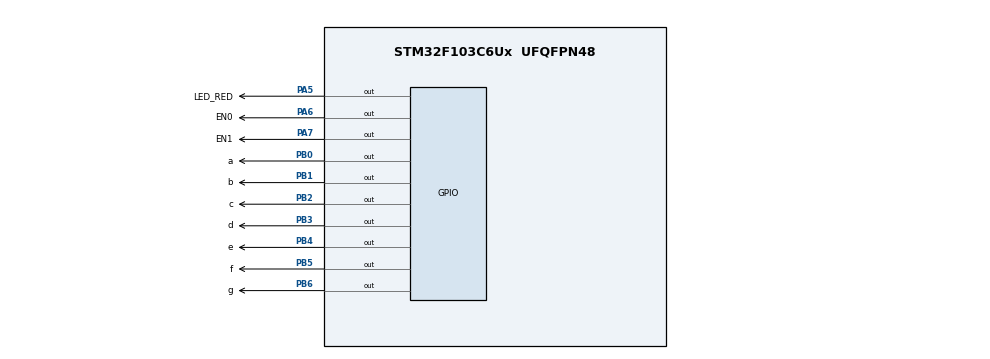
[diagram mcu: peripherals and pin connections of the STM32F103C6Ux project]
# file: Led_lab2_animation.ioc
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Mcu.Family=STM32F1
Mcu.Name=STM32F103C6Ux
Mcu.Package=UFQFPN48
NVIC.PriorityGroup=NVIC_PRIORITYGROUP_4
NVIC.TIM2_IRQn=true\:0\:0\:false\:false\:true\:true\:true
PA5.GPIO_Label=LED_RED
PA5.Signal=GPIO_Output
PA6.GPIO_Label=EN0
PA6.Signal=GPIO_Output
PA7.GPIO_Label=EN1
PA7.Signal=GPIO_Output
PB0.GPIO_Label=a
PB0.Signal=GPIO_Output
PB1.GPIO_Label=b
PB1.Signal=GPIO_Output
PB2.GPIO_Label=c
PB2.Signal=GPIO_Output
PB3.GPIO_Label=d
PB3.Signal=GPIO_Output
PB4.GPIO_Label=e
PB4.Signal=GPIO_Output
PB5.GPIO_Label=f
PB5.Signal=GPIO_Output
PB6.GPIO_Label=g
PB6.Signal=GPIO_Output
ProjectManager.HeapSize=0x200
ProjectManager.StackSize=0x400
ProjectManager.TargetToolchain=STM32CubeIDE
RCC.APB1Freq_Value=8000000
RCC.APB2Freq_Value=8000000
TIM2.Period=9
TIM2.Prescaler=7999
VP_SYS_VS_ND.Mode=No_Debug
VP_TIM2_VS_ClockSourceINT.Mode=Internal
board=custom

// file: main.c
/* USER CODE BEGIN Header */
/**
  ******************************************************************************
  * @file           : main.c
  * @brief          : Main program body
  ******************************************************************************
  * @attention
  *
  * <h2><center>&copy; Copyright (c) 2024 STMicroelectronics.
  * All rights reserved.</center></h2>
  *
  * This software component is licensed by ST under BSD 3-Clause license,
  * the "License"; You may not use this file except in compliance with the
  * License. You may obtain a copy of the License at:
  *                        opensource.org/licenses/BSD-3-Clause
  *
  ******************************************************************************
  */
/* USER CODE END Header */
#include "main.h"

/* USER CODE BEGIN Includes */
#include "software_timer.h"
/* USER CODE END Includes */

TIM_HandleTypeDef htim2;

/* USER CODE BEGIN PV */
int status = 0;
/* USER CODE END PV */

void SystemClock_Config(void);
static void MX_GPIO_Init(void);
static void MX_TIM2_Init(void);
/* USER CODE BEGIN PFP */
void clear7SEG()
{
	HAL_GPIO_WritePin(GPIOB, a_Pin | b_Pin | c_Pin | d_Pin | e_Pin | f_Pin | g_Pin, GPIO_PIN_SET);
}
void display7SEG(int num)
{
	clear7SEG();

	switch (num)
	{
		case 0:
			HAL_GPIO_WritePin(GPIOB, a_Pin | b_Pin | c_Pin | d_Pin | e_Pin | f_Pin, GPIO_PIN_RESET);
			break;
		case 1:
			HAL_GPIO_WritePin(GPIOB, b_Pin | c_Pin , GPIO_PIN_RESET);
			break;
		case 2:
			HAL_GPIO_WritePin(GPIOB, a_Pin | b_Pin | d_Pin | e_Pin | g_Pin, GPIO_PIN_RESET);
			break;
		case 3:
			HAL_GPIO_WritePin(GPIOB, a_Pin | b_Pin | c_Pin | d_Pin | g_Pin, GPIO_PIN_RESET);
			break;
		case 4:
			HAL_GPIO_WritePin(GPIOB, b_Pin | c_Pin | f_Pin | g_Pin, GPIO_PIN_RESET);
			break;
		case 5:
			HAL_GPIO_WritePin(GPIOB, a_Pin | c_Pin | d_Pin | f_Pin | g_Pin, GPIO_PIN_RESET);
			break;
		case 6:
			HAL_GPIO_WritePin(GPIOB, a_Pin | c_Pin | d_Pin | e_Pin | f_Pin | g_Pin, GPIO_PIN_RESET);
			break;
		case 7:
			HAL_GPIO_WritePin(GPIOB, a_Pin | b_Pin | c_Pin , GPIO_PIN_RESET);
			break;
		case 8:
			HAL_GPIO_WritePin(GPIOB, a_Pin | b_Pin | c_Pin | d_Pin | e_Pin | f_Pin | g_Pin, GPIO_PIN_RESET);
			break;
		case 9:
			HAL_GPIO_WritePin(GPIOB, a_Pin | b_Pin | c_Pin | d_Pin | f_Pin | g_Pin, GPIO_PIN_RESET);
			break;
	}
}
/* USER CODE END PFP */

int main(void)
{

  /* MCU Configuration--------------------------------------------------------*/

  /* Reset of all peripherals, Initializes the Flash interface and the Systick. */
  HAL_Init();

  /* Configure the system clock */
  SystemClock_Config();

  /* Initialize all configured peripherals */
  MX_GPIO_Init();
  MX_TIM2_Init();
  /* USER CODE BEGIN 2 */
  HAL_TIM_Base_Start_IT (& htim2 ) ;
  setTimer(0, 500);
  /* USER CODE END 2 */

  /* Infinite loop */
  while (1)
  {
	  if(isTimerExpired(0)){
		  switch(status){
		  	  case 0:
		  		  HAL_GPIO_WritePin(GPIOA, EN1_Pin, GPIO_PIN_SET);
		  		  HAL_GPIO_WritePin(GPIOA, EN0_Pin, GPIO_PIN_RESET);
		  		  display7SEG(1);
		  		  status = 1;
		  		  break;
		  	  case 1:
		  		  HAL_GPIO_WritePin(GPIOA, EN0_Pin, GPIO_PIN_SET);
		  		  HAL_GPIO_WritePin(GPIOA, EN1_Pin, GPIO_PIN_RESET);
		  		  display7SEG(2);
		  		  status = 0;
		  		  break;
		  }
		  setTimer(0, 500);
	  }

  }
}

void SystemClock_Config(void)
{
  RCC_OscInitTypeDef RCC_OscInitStruct = {0};
  RCC_ClkInitTypeDef RCC_ClkInitStruct = {0};

  /** Initializes the RCC Oscillators according to the specified parameters
  * in the RCC_OscInitTypeDef structure.
  */
  RCC_OscInitStruct.OscillatorType = RCC_OSCILLATORTYPE_HSI;
  RCC_OscInitStruct.HSIState = RCC_HSI_ON;
  RCC_OscInitStruct.HSICalibrationValue = RCC_HSICALIBRATION_DEFAULT;
  RCC_OscInitStruct.PLL.PLLState = RCC_PLL_NONE;
  if (HAL_RCC_OscConfig(&RCC_OscInitStruct) != HAL_OK)
  {
    Error_Handler();
  }
  /** Initializes the CPU, AHB and APB buses clocks
  */
  RCC_ClkInitStruct.ClockType = RCC_CLOCKTYPE_HCLK|RCC_CLOCKTYPE_SYSCLK
                              |RCC_CLOCKTYPE_PCLK1|RCC_CLOCKTYPE_PCLK2;
  RCC_ClkInitStruct.SYSCLKSource = RCC_SYSCLKSOURCE_HSI;
  RCC_ClkInitStruct.AHBCLKDivider = RCC_SYSCLK_DIV1;
  RCC_ClkInitStruct.APB1CLKDivider = RCC_HCLK_DIV1;
  RCC_ClkInitStruct.APB2CLKDivider = RCC_HCLK_DIV1;

  if (HAL_RCC_ClockConfig(&RCC_ClkInitStruct, FLASH_LATENCY_0) != HAL_OK)
  {
    Error_Handler();
  }
}

static void MX_TIM2_Init(void)
{

  TIM_ClockConfigTypeDef sClockSourceConfig = {0};
  TIM_MasterConfigTypeDef sMasterConfig = {0};

  htim2.Instance = TIM2;
  htim2.Init.Prescaler = 7999;
  htim2.Init.CounterMode = TIM_COUNTERMODE_UP;
  htim2.Init.Period = 9;
  htim2.Init.ClockDivision = TIM_CLOCKDIVISION_DIV1;
  htim2.Init.AutoReloadPreload = TIM_AUTORELOAD_PRELOAD_DISABLE;
  if (HAL_TIM_Base_Init(&htim2) != HAL_OK)
  {
    Error_Handler();
  }
  sClockSourceConfig.ClockSource = TIM_CLOCKSOURCE_INTERNAL;
  if (HAL_TIM_ConfigClockSource(&htim2, &sClockSourceConfig) != HAL_OK)
  {
    Error_Handler();
  }
  sMasterConfig.MasterOutputTrigger = TIM_TRGO_RESET;
  sMasterConfig.MasterSlaveMode = TIM_MASTERSLAVEMODE_DISABLE;
  if (HAL_TIMEx_MasterConfigSynchronization(&htim2, &sMasterConfig) != HAL_OK)
  {
    Error_Handler();
  }

}

static void MX_GPIO_Init(void)
{
  GPIO_InitTypeDef GPIO_InitStruct = {0};

  /* GPIO Ports Clock Enable */
  __HAL_RCC_GPIOA_CLK_ENABLE();
  __HAL_RCC_GPIOB_CLK_ENABLE();

  /*Configure GPIO pin Output Level */
  HAL_GPIO_WritePin(GPIOA, LED_RED_Pin|EN0_Pin|EN1_Pin, GPIO_PIN_RESET);

  /*Configure GPIO pin Output Level */
  HAL_GPIO_WritePin(GPIOB, a_Pin|b_Pin|c_Pin|d_Pin
                          |e_Pin|f_Pin|g_Pin, GPIO_PIN_RESET);

  /*Configure GPIO pins : LED_RED_Pin EN0_Pin EN1_Pin */
  GPIO_InitStruct.Pin = LED_RED_Pin|EN0_Pin|EN1_Pin;
  GPIO_InitStruct.Mode = GPIO_MODE_OUTPUT_PP;
  GPIO_InitStruct.Pull = GPIO_NOPULL;
  GPIO_InitStruct.Speed = GPIO_SPEED_FREQ_LOW;
  HAL_GPIO_Init(GPIOA, &GPIO_InitStruct);

  /*Configure GPIO pins : a_Pin b_Pin c_Pin d_Pin
                           e_Pin f_Pin g_Pin */
  GPIO_InitStruct.Pin = a_Pin|b_Pin|c_Pin|d_Pin
                          |e_Pin|f_Pin|g_Pin;
  GPIO_InitStruct.Mode = GPIO_MODE_OUTPUT_PP;
  GPIO_InitStruct.Pull = GPIO_NOPULL;
  GPIO_InitStruct.Speed = GPIO_SPEED_FREQ_LOW;
  HAL_GPIO_Init(GPIOB, &GPIO_InitStruct);

}

/* USER CODE BEGIN 4 */
	int counter = 100;
	void HAL_TIM_PeriodElapsedCallback ( TIM_HandleTypeDef * htim )
	{
		timerRun();
	}

/* USER CODE END 4 */

void Error_Handler(void)
{
  __disable_irq();
  while (1)
  {
  }
}

/************************ (C) COPYRIGHT STMicroelectronics *****END OF FILE****/
